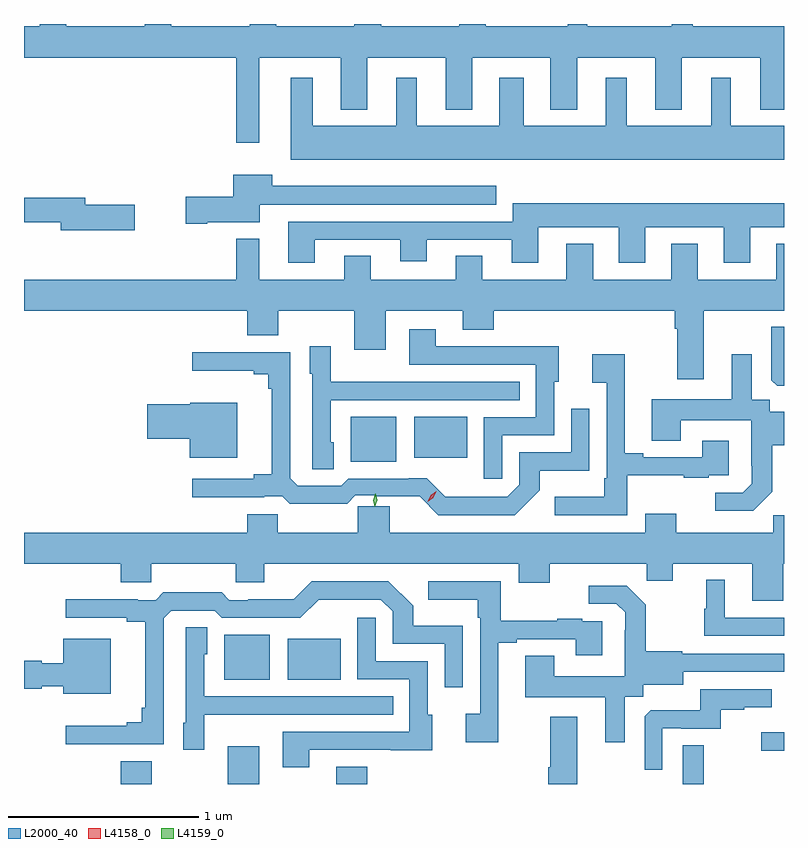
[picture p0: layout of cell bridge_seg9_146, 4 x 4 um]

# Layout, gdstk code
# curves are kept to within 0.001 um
import gdstk
lib = gdstk.Library(unit=1e-6, precision=1e-09)
def R(c, l, rs):  # rectangles x0, y0, x1, y1
    for r in rs: c.add(gdstk.rectangle(r[:2], r[2:], *l))
def P(c, l, *ps):  # polygons
    for p in ps: c.add(gdstk.Polygon(p, *l))
L2000_40 = (2000, 40)
L4158_0 = (4158, 0)
L4159_0 = (4159, 0)

bridge_seg9_146 = lib.new_cell('bridge_seg9_146')
R(bridge_seg9_146, L2000_40, [(579.245,1189.933,579.409,1190.053), (579.809,1189.933,579.973,1190.131), (580.379,1189.933,580.543,1190.023), (582.204,1189.933,582.313,1190.138), (582.615,1190.108,582.736,1190.206), (579.791,1190.483,580.03,1190.719), (580.124,1190.483,580.402,1190.698), (580.457,1191.629,580.696,1191.865), (580.79,1191.65,581.068,1191.865)])
P(bridge_seg9_146, L2000_40, [(579.973,1193.756),(580.403,1193.756),(580.403,1193.483),(580.543,1193.483),(580.543,1193.756),(580.955,1193.756),(580.955,1193.483),(581.095,1193.483),(581.095,1193.756),(581.507,1193.756),(581.507,1193.483),(581.647,1193.483),(581.647,1193.756),(582.059,1193.756),(582.059,1193.483),(582.199,1193.483),(582.199,1193.756),(582.611,1193.756),(582.611,1193.483),(582.736,1193.483),(582.736,1193.92),(582.257,1193.92),(582.257,1193.933),(582.146,1193.933),(582.146,1193.92),(581.701,1193.92),(581.701,1193.933),(581.597,1193.933),(581.597,1193.92),(581.167,1193.92),(581.167,1193.933),(581.027,1193.933),(581.027,1193.92),(580.615,1193.92),(580.615,1193.933),(580.475,1193.933),(580.475,1193.92),(580.063,1193.92),(580.063,1193.933),(579.923,1193.933),(579.923,1193.92),(579.511,1193.92),(579.511,1193.933),(579.371,1193.933),(579.371,1193.92),(578.959,1193.92),(578.959,1193.933),(578.819,1193.933),(578.819,1193.92),(578.736,1193.92),(578.736,1193.756),(579.852,1193.756),(579.852,1193.307),(579.973,1193.307)],
  [(582.736,1193.398),(582.457,1193.398),(582.457,1193.65),(582.353,1193.65),(582.353,1193.398),(581.908,1193.398),(581.908,1193.65),(581.798,1193.65),(581.798,1193.398),(581.365,1193.398),(581.365,1193.65),(581.237,1193.65),(581.237,1193.398),(580.804,1193.398),(580.804,1193.65),(580.694,1193.65),(580.694,1193.398),(580.255,1193.398),(580.255,1193.65),(580.139,1193.65),(580.139,1193.219),(582.736,1193.219)],
  [(579.7,1192.889),(579.976,1192.889),(579.976,1192.982),(581.221,1192.982),(581.221,1193.083),(580.042,1193.083),(580.042,1193.14),(579.836,1193.14),(579.836,1193.024),(579.588,1193.024),(579.588,1192.882),(579.7,1192.882)],
  [(579.319,1192.982),(579.058,1192.982),(579.058,1193.018),(578.736,1193.018),(578.736,1192.89),(578.93,1192.89),(578.93,1192.847),(579.319,1192.847)],
  [(580.267,1192.797),(580.715,1192.797),(580.715,1192.685),(580.855,1192.685),(580.855,1192.797),(581.303,1192.797),(581.303,1192.677),(581.443,1192.677),(581.443,1192.862),(581.867,1192.862),(581.867,1192.677),(582.007,1192.677),(582.007,1192.862),(582.419,1192.862),(582.419,1192.677),(582.559,1192.677),(582.559,1192.862),(582.736,1192.862),(582.736,1192.99),(581.309,1192.99),(581.309,1192.893),(580.127,1192.893),(580.127,1192.677),(580.267,1192.677)],
  [(582.313,1192.424),(582.736,1192.424),(582.736,1192.777),(582.695,1192.777),(582.695,1192.588),(582.283,1192.588),(582.283,1192.777),(582.143,1192.777),(582.143,1192.588),(581.731,1192.588),(581.731,1192.777),(581.591,1192.777),(581.591,1192.588),(581.149,1192.588),(581.149,1192.712),(581.009,1192.712),(581.009,1192.588),(580.561,1192.588),(580.561,1192.712),(580.421,1192.712),(580.421,1192.588),(579.973,1192.588),(579.973,1192.804),(579.852,1192.804),(579.852,1192.588),(578.736,1192.588),(578.736,1192.424),(579.911,1192.424),(579.911,1192.296),(580.075,1192.296),(580.075,1192.424),(580.475,1192.424),(580.475,1192.218),(580.639,1192.218),(580.639,1192.424),(581.045,1192.424),(581.045,1192.325),(581.209,1192.325),(581.209,1192.424),(582.161,1192.424),(582.161,1192.328),(582.173,1192.328),(582.173,1192.062),(582.313,1192.062)],
  [(582.736,1192.339),(582.669,1192.339),(582.669,1192.059),(582.701,1192.028),(582.736,1192.028)],
  [(581.253,1191.768),(581.526,1191.768),(581.526,1192.05),(581.551,1192.05),(581.551,1192.238),(581.333,1192.238),(581.333,1192.236),(580.903,1192.236),(580.903,1192.327),(580.763,1192.327),(580.763,1192.14),(581.43,1192.14),(581.43,1191.864),(581.157,1191.864),(581.157,1191.54),(581.253,1191.54)],
  [(580.366,1191.732),(580.35,1191.732),(580.35,1191.954),(581.345,1191.954),(581.345,1192.05),(580.667,1192.05),(580.667,1192.051),(580.35,1192.051),(580.35,1192.237),(580.241,1192.237),(580.241,1192.092),(580.254,1192.092),(580.254,1191.589),(580.366,1191.589)],
  [(581.451,1191.479),(581.451,1191.581),(581.712,1191.581),(581.712,1191.907),(581.616,1191.907),(581.616,1191.678),(581.343,1191.678),(581.343,1191.507),(581.28,1191.444),(581.056,1191.444),(581.056,1191.446),(580.952,1191.446),(580.856,1191.541),(580.443,1191.54),(580.407,1191.504),(580.176,1191.504),(580.137,1191.543),(580.137,1192.206),(579.621,1192.206),(579.621,1192.109),(579.944,1192.109),(579.944,1192.09),(580.021,1192.09),(580.021,1192.013),(580.04,1192.013),(580.04,1191.563),(579.944,1191.563),(579.944,1191.54),(579.621,1191.54),(579.621,1191.443),(580.001,1191.443),(580.001,1191.447),(580.095,1191.447),(580.135,1191.408),(580.436,1191.408),(580.48,1191.452),(580.582,1191.452),(580.582,1191.447),(580.818,1191.447),(580.917,1191.348),(581.32,1191.348)],
  [(581.911,1191.557),(582.209,1191.557),(582.209,1191.546),(582.341,1191.546),(582.341,1191.558),(582.445,1191.558),(582.445,1191.739),(582.305,1191.739),(582.305,1191.654),(581.995,1191.654),(581.995,1191.673),(581.899,1191.673),(581.899,1192.195),(581.727,1192.195),(581.727,1192.046),(581.802,1192.046),(581.802,1191.541),(581.79,1191.541),(581.79,1191.445),(581.529,1191.445),(581.529,1191.348),(581.911,1191.348)],
  [(582.675,1191.471),(582.675,1191.717),(582.736,1191.717),(582.736,1191.892),(582.66,1191.892),(582.66,1191.956),(582.565,1191.956),(582.565,1192.195),(582.461,1192.195),(582.461,1191.958),(582.041,1191.958),(582.041,1191.739),(582.193,1191.739),(582.193,1191.848),(582.564,1191.848),(582.564,1191.607),(582.566,1191.607),(582.566,1191.512),(582.519,1191.465),(582.375,1191.465),(582.375,1191.371),(582.575,1191.371)],
  [(579.859,1191.94),(579.612,1191.94),(579.612,1191.932),(579.384,1191.932),(579.384,1191.749),(579.608,1191.749),(579.608,1191.65),(579.859,1191.65)],
  [(582.169,1191.355),(582.005,1191.355),(582.005,1191.256),(580.662,1191.256),(580.662,1191.395),(580.492,1191.395),(580.492,1191.256),(580.071,1191.256),(580.071,1191.354),(579.911,1191.354),(579.911,1191.256),(578.736,1191.256),(578.736,1191.092),(579.245,1191.092),(579.245,1190.994),(579.405,1190.994),(579.405,1191.092),(579.85,1191.092),(579.85,1190.994),(580,1190.994),(580,1191.092),(581.339,1191.092),(581.339,1190.993),(581.503,1190.993),(581.503,1191.092),(582.013,1191.092),(582.013,1191.002),(582.151,1191.002),(582.151,1191.092),(582.569,1191.092),(582.569,1190.898),(582.733,1190.898),(582.733,1191.092),(582.736,1191.092),(582.736,1191.347),(582.679,1191.347),(582.679,1191.256),(582.169,1191.256)],
  [(582.736,1190.808),(582.424,1190.808),(582.424,1191.007),(582.326,1191.007),(582.326,1190.856),(582.315,1190.856),(582.315,1190.712),(582.736,1190.712)],
  [(579.471,1190.805),(579.51,1190.844),(579.741,1190.844),(579.777,1190.808),(580.191,1190.808),(580.286,1190.903),(580.614,1190.904),(580.677,1190.841),(580.677,1190.67),(580.95,1190.67),(580.95,1190.442),(581.046,1190.442),(581.046,1190.767),(580.785,1190.767),(580.785,1190.87),(580.654,1191),(580.251,1191),(580.157,1190.906),(579.916,1190.906),(579.916,1190.901),(579.816,1190.901),(579.777,1190.941),(579.469,1190.941),(579.429,1190.901),(579.335,1190.901),(579.335,1190.906),(578.955,1190.906),(578.955,1190.808),(579.278,1190.808),(579.278,1190.786),(579.374,1190.786),(579.374,1190.335),(579.355,1190.335),(579.355,1190.258),(579.278,1190.258),(579.278,1190.239),(578.955,1190.239),(578.955,1190.142),(579.471,1190.142)],
  [(581.233,1190.676),(581.329,1190.676),(581.329,1190.694),(581.639,1190.694),(581.639,1190.61),(581.779,1190.61),(581.779,1190.79),(581.675,1190.79),(581.675,1190.803),(581.543,1190.803),(581.543,1190.792),(581.245,1190.792),(581.245,1191),(580.863,1191),(580.863,1190.903),(581.124,1190.903),(581.124,1190.807),(581.136,1190.807),(581.136,1190.302),(581.061,1190.302),(581.061,1190.154),(581.233,1190.154)],
  [(581.899,1190.392),(581.994,1190.392),(581.994,1190.456),(582.205,1190.456),(582.205,1190.523),(582.736,1190.523),(582.736,1190.619),(582.201,1190.619),(582.201,1190.632),(582.009,1190.632),(582.009,1190.877),(581.909,1190.977),(581.709,1190.977),(581.709,1190.883),(581.853,1190.883),(581.9,1190.836),(581.9,1190.741),(581.898,1190.741),(581.898,1190.5),(581.527,1190.5),(581.527,1190.609),(581.375,1190.609),(581.375,1190.39),(581.795,1190.39),(581.795,1190.154),(581.899,1190.154)],
  [(580.237,1190.112),(580.667,1190.112),(580.667,1190.111),(580.885,1190.111),(580.885,1190.298),(580.86,1190.298),(580.86,1190.58),(580.587,1190.58),(580.587,1190.809),(580.491,1190.809),(580.491,1190.484),(580.764,1190.484),(580.764,1190.208),(580.097,1190.208),(580.097,1190.022),(580.237,1190.022)],
  [(579.684,1190.297),(580.001,1190.297),(580.001,1190.298),(580.679,1190.298),(580.679,1190.394),(579.684,1190.394),(579.684,1190.616),(579.7,1190.616),(579.7,1190.759),(579.588,1190.759),(579.588,1190.256),(579.575,1190.256),(579.575,1190.112),(579.684,1190.112)],
  [(579.193,1190.698),(578.942,1190.698),(578.942,1190.569),(578.829,1190.569),(578.829,1190.582),(578.736,1190.582),(578.736,1190.435),(578.829,1190.435),(578.829,1190.447),(578.942,1190.447),(578.942,1190.408),(579.193,1190.408)],
  [(582.096,1190.226),(582.196,1190.226),(582.196,1190.223),(582.404,1190.223),(582.404,1190.325),(582.527,1190.325),(582.527,1190.336),(582.671,1190.336),(582.671,1190.433),(582.294,1190.433),(582.294,1190.321),(582.035,1190.321),(582.003,1190.289),(582.003,1190.009),(582.096,1190.009)],
  [(581.647,1190.287),(581.507,1190.287),(581.507,1190.02),(581.495,1190.02),(581.495,1189.933),(581.647,1189.933)])
P(bridge_seg9_146, L4158_0, [(580.86,1191.418),(580.86,1191.418),(580.876,1191.452),(580.907,1191.473),(580.907,1191.473),(580.907,1191.473),(580.891,1191.439),(580.861,1191.418)])
P(bridge_seg9_146, L4159_0, [(580.582,1191.392),(580.582,1191.392),(580.574,1191.426),(580.585,1191.46),(580.585,1191.46),(580.586,1191.46),(580.594,1191.426),(580.583,1191.392)])

lib.write_gds('bridge_seg9_146.gds')
